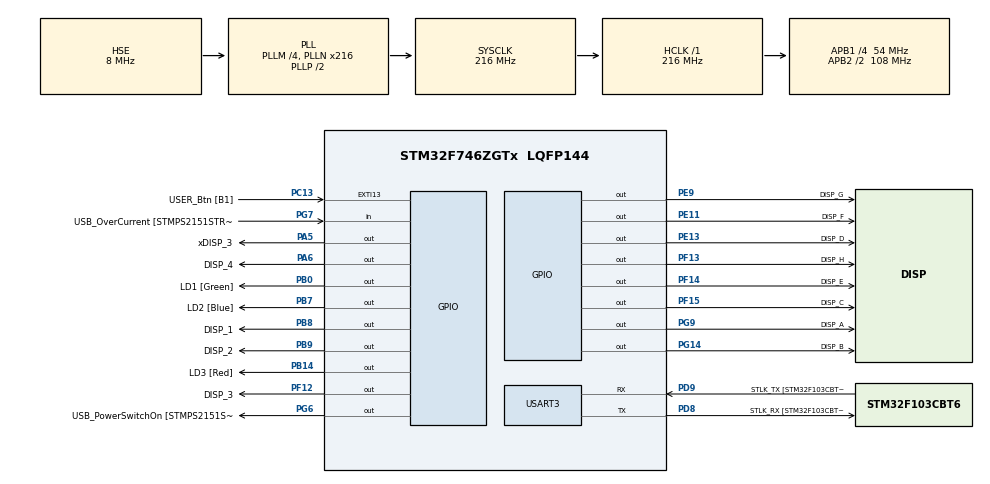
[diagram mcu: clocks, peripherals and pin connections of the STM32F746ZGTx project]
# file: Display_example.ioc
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Mcu.Family=STM32F7
Mcu.Name=STM32F746ZGTx
Mcu.Package=LQFP144
NVIC.PriorityGroup=NVIC_PRIORITYGROUP_4
NVIC.TIM7_IRQn=true\:0\:0\:false\:false\:true\:true\:true\:true
NVIC.USART3_IRQn=true\:0\:0\:false\:false\:true\:true\:true\:true
PA1.GPIO_Label=RMII_REF_CLK [LAN8742A-CZ-TR_REFCLK0]
PA1.Signal=ETH_REF_CLK
PA10.GPIO_Label=USB_ID
PA10.Signal=USB_OTG_FS_ID
PA11.GPIO_Label=USB_DM
PA11.Signal=USB_OTG_FS_DM
PA12.GPIO_Label=USB_DP
PA12.Signal=USB_OTG_FS_DP
PA13.GPIO_Label=TMS
PA13.Mode=Serial_Wire
PA13.Signal=SYS_JTMS-SWDIO
PA14.GPIO_Label=TCK
PA14.Mode=Serial_Wire
PA14.Signal=SYS_JTCK-SWCLK
PA2.GPIO_Label=RMII_MDIO [LAN8742A-CZ-TR_MDIO]
PA2.Signal=ETH_MDIO
PA5.GPIO_Label=xDISP_3
PA5.GPIO_ModeDefaultOutputPP=GPIO_MODE_OUTPUT_OD
PA5.GPIO_PuPd=GPIO_NOPULL
PA5.PinState=GPIO_PIN_SET
PA5.Signal=GPIO_Output
PA6.GPIO_Label=DISP_4
PA6.GPIO_ModeDefaultOutputPP=GPIO_MODE_OUTPUT_OD
PA6.GPIO_PuPd=GPIO_NOPULL
PA6.PinState=GPIO_PIN_SET
PA6.Signal=GPIO_Output
PA7.GPIO_Label=RMII_CRS_DV [LAN8742A-CZ-TR_CRS_DV]
PA7.Signal=ETH_CRS_DV
PA8.GPIO_Label=USB_SOF [TP1]
PA8.Signal=USB_OTG_FS_SOF
PA9.GPIO_Label=USB_VBUS
PA9.Signal=USB_OTG_FS_VBUS
PB0.GPIO_Label=LD1 [Green]
PB0.Signal=GPIO_Output
PB13.GPIO_Label=RMII_TXD1 [LAN8742A-CZ-TR_TXD1]
PB13.Signal=ETH_TXD1
PB14.GPIO_Label=LD3 [Red]
PB14.Signal=GPIO_Output
PB3.GPIO_Label=SW0
PB3.Signal=SYS_JTDO-SWO
PB7.GPIO_Label=LD2 [Blue]
PB7.Signal=GPIO_Output
PB8.GPIO_Label=DISP_1
PB8.GPIO_ModeDefaultOutputPP=GPIO_MODE_OUTPUT_OD
PB8.GPIO_PuPd=GPIO_NOPULL
PB8.PinState=GPIO_PIN_SET
PB8.Signal=GPIO_Output
PB9.GPIO_Label=DISP_2
PB9.GPIO_ModeDefaultOutputPP=GPIO_MODE_OUTPUT_OD
PB9.GPIO_PuPd=GPIO_NOPULL
PB9.PinState=GPIO_PIN_SET
PB9.Signal=GPIO_Output
PC1.GPIO_Label=RMII_MDC [LAN8742A-CZ-TR_MDC]
PC1.Signal=ETH_MDC
PC13.GPIO_Label=USER_Btn [B1]
PC13.Signal=GPXTI13
PC14/OSC32_IN.Mode=LSE-External-Oscillator
PC14/OSC32_IN.Signal=RCC_OSC32_IN
PC15/OSC32_OUT.Mode=LSE-External-Oscillator
PC15/OSC32_OUT.Signal=RCC_OSC32_OUT
PC4.GPIO_Label=RMII_RXD0 [LAN8742A-CZ-TR_RXD0]
PC4.Signal=ETH_RXD0
PC5.GPIO_Label=RMII_RXD1 [LAN8742A-CZ-TR_RXD1]
PC5.Signal=ETH_RXD1
PD8.GPIO_Label=STLK_RX [STM32F103CBT6_PA3]
PD8.Mode=Asynchronous
PD8.Signal=USART3_TX
PD9.GPIO_Label=STLK_TX [STM32F103CBT6_PA2]
PD9.Mode=Asynchronous
PD9.Signal=USART3_RX
PE11.GPIO_Label=DISP_F
PE11.GPIO_ModeDefaultOutputPP=GPIO_MODE_OUTPUT_OD
PE11.GPIO_PuPd=GPIO_PULLUP
PE11.Signal=GPIO_Output
PE13.GPIO_Label=DISP_D
PE13.GPIO_ModeDefaultOutputPP=GPIO_MODE_OUTPUT_OD
PE13.GPIO_PuPd=GPIO_PULLUP
PE13.Signal=GPIO_Output
PE9.GPIO_Label=DISP_G
PE9.GPIO_ModeDefaultOutputPP=GPIO_MODE_OUTPUT_OD
PE9.GPIO_PuPd=GPIO_PULLUP
PE9.Signal=GPIO_Output
PF12.GPIO_Label=DISP_3
PF12.GPIO_ModeDefaultOutputPP=GPIO_MODE_OUTPUT_OD
PF12.GPIO_PuPd=GPIO_NOPULL
PF12.PinState=GPIO_PIN_SET
PF12.Signal=GPIO_Output
PF13.GPIO_Label=DISP_H
PF13.GPIO_ModeDefaultOutputPP=GPIO_MODE_OUTPUT_OD
PF13.GPIO_PuPd=GPIO_PULLUP
PF13.Signal=GPIO_Output
PF14.GPIO_Label=DISP_E
PF14.GPIO_ModeDefaultOutputPP=GPIO_MODE_OUTPUT_OD
PF14.GPIO_PuPd=GPIO_PULLUP
PF14.Signal=GPIO_Output
PF15.GPIO_Label=DISP_C
PF15.GPIO_ModeDefaultOutputPP=GPIO_MODE_OUTPUT_OD
PF15.GPIO_PuPd=GPIO_PULLUP
PF15.Signal=GPIO_Output
PG11.GPIO_Label=RMII_TX_EN [LAN8742A-CZ-TR_TXEN]
PG11.Signal=ETH_TX_EN
PG13.GPIO_Label=RMII_TXD0 [LAN8742A-CZ-TR_TXD0]
PG13.Signal=ETH_TXD0
PG14.GPIO_Label=DISP_B
PG14.GPIO_ModeDefaultOutputPP=GPIO_MODE_OUTPUT_OD
PG14.GPIO_PuPd=GPIO_PULLUP
PG14.Signal=GPIO_Output
PG6.GPIO_Label=USB_PowerSwitchOn [STMPS2151STR_EN]
PG6.Signal=GPIO_Output
PG7.GPIO_Label=USB_OverCurrent [STMPS2151STR_FAULT]
PG7.Signal=GPIO_Input
PG9.GPIO_Label=DISP_A
PG9.GPIO_ModeDefaultOutputPP=GPIO_MODE_OUTPUT_OD
PG9.GPIO_PuPd=GPIO_PULLUP
PG9.Signal=GPIO_Output
PH0/OSC_IN.GPIO_Label=MCO [STM32F103CBT6_PA8]
PH0/OSC_IN.Mode=HSE-External-Clock-Source
PH0/OSC_IN.Signal=RCC_OSC_IN
PH1/OSC_OUT.Mode=HSE-External-Clock-Source
PH1/OSC_OUT.Signal=RCC_OSC_OUT
ProjectManager.HeapSize=0x200
ProjectManager.StackSize=0x400
ProjectManager.TargetToolchain=STM32CubeIDE
RCC.48MHZClocksFreq_Value=24000000
RCC.AHBFreq_Value=216000000
RCC.APB1CLKDivider=RCC_HCLK_DIV4
RCC.APB1Freq_Value=54000000
RCC.APB1TimFreq_Value=108000000
RCC.APB2CLKDivider=RCC_HCLK_DIV2
RCC.APB2Freq_Value=108000000
RCC.APB2TimFreq_Value=216000000
RCC.CortexFreq_Value=216000000
RCC.HCLKFreq_Value=216000000
RCC.HSE_VALUE=8000000
RCC.HSI_VALUE=16000000
RCC.PLLM=4
RCC.PLLMUL=RCC_PLL_MUL9
RCC.PLLN=216
RCC.PLLQ=3
RCC.PLLSourceVirtual=RCC_PLLSOURCE_HSE
RCC.PRESCALERUSB=RCC_USBCLKSOURCE_PLL_DIV1_5
RCC.SYSCLKFreq_VALUE=216000000
RCC.SYSCLKSource=RCC_SYSCLKSOURCE_PLLCLK
RCC.SYSCLKSourceVirtual=RCC_SYSCLKSOURCE_PLLCLK
RCC.USBFreq_Value=144000000
RCC.VCOOutputFreq_Value=432000000
TIM7.Period=999
TIM7.Prescaler=215
USART3.VirtualMode-Asynchronous=VM_ASYNC
VP_TIM7_VS_ClockSourceINT.Mode=Enable_Timer
board=NUCLEO-F746ZG

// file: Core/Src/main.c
/* USER CODE BEGIN Header */
/**
  ******************************************************************************
  * @file           : main.c
  * @brief          : Main program body
  ******************************************************************************
  * @attention
  *
  * Copyright (c) 2022 STMicroelectronics.
  * All rights reserved.
  *
  * This software is licensed under terms that can be found in the LICENSE file
  * in the root directory of this software component.
  * If no LICENSE file comes with this software, it is provided AS-IS.
  *
  ******************************************************************************
  */
/* USER CODE END Header */
#include "main.h"
#include "tim.h"
#include "usart.h"
#include "gpio.h"

/* USER CODE BEGIN Includes */
#include <stdio.h>
#include "disp_config.h"
/* USER CODE END Includes */

/* USER CODE BEGIN PD */
#define CLOCK
/* USER CODE END PD */

/* USER CODE BEGIN PV */
char RX_DATA[32];
const unsigned int MSG_SIZE = 4;
/* USER CODE END PV */

void SystemClock_Config(void);

/* USER CODE BEGIN 0 */

/**
  * @brief  Rx Transfer completed callback.
  * @param  huart UART handle.
  * @retval None
  */
void HAL_UART_RxCpltCallback(UART_HandleTypeDef *huart)
{
  if(huart == &huart3)
  {
	unsigned int number = 0;
    int status = sscanf(RX_DATA, "%u", &number);

    if(status == 1 && number >= 0 && number <= 9999)
      DISP_printDecUInt(&hdisp1, number);

    HAL_UART_Receive_IT(huart, (unsigned char*)RX_DATA, MSG_SIZE);
  }
}

/**
  * @brief  Period elapsed callback in non-blocking mode
  * @param  htim TIM handle
  * @retval None
  */
void HAL_TIM_PeriodElapsedCallback(TIM_HandleTypeDef *htim)
{
  if(htim == hdisp1.Timer)
	  DISP_ROUTINE(&hdisp1);
}

/* USER CODE END 0 */

int main(void)
{

  /* MCU Configuration--------------------------------------------------------*/

  /* Reset of all peripherals, Initializes the Flash interface and the Systick. */
  HAL_Init();

  /* Configure the system clock */
  SystemClock_Config();

  /* Initialize all configured peripherals */
  MX_GPIO_Init();
  MX_USART3_UART_Init();
  MX_TIM7_Init();
  /* USER CODE BEGIN 2 */

  // Initialize 7-segment display
  DISP_Init(&hdisp1);

  // Printing initial value
  DISP_printDecUInt(&hdisp1, 1234);

  // Start serial port
  HAL_UART_Receive_IT(&huart3, (unsigned char*)RX_DATA, MSG_SIZE);
  //unsigned int number = 0;
  /* USER CODE END 2 */

  /* Infinite loop */
  /* USER CODE BEGIN WHILE */
  while (1)
  {
	//number = (number == 9999) ? 0 : number + 1;
	//DISP_printDecUInt(&hdisp1, number);
	//HAL_Delay(999);
    /* USER CODE END WHILE */

  }
}

void SystemClock_Config(void)
{
  RCC_OscInitTypeDef RCC_OscInitStruct = {0};
  RCC_ClkInitTypeDef RCC_ClkInitStruct = {0};

  /** Configure LSE Drive Capability
  */
  HAL_PWR_EnableBkUpAccess();
  /** Configure the main internal regulator output voltage
  */
  __HAL_RCC_PWR_CLK_ENABLE();
  __HAL_PWR_VOLTAGESCALING_CONFIG(PWR_REGULATOR_VOLTAGE_SCALE1);
  /** Initializes the RCC Oscillators according to the specified parameters
  * in the RCC_OscInitTypeDef structure.
  */
  RCC_OscInitStruct.OscillatorType = RCC_OSCILLATORTYPE_HSE;
  RCC_OscInitStruct.HSEState = RCC_HSE_BYPASS;
  RCC_OscInitStruct.PLL.PLLState = RCC_PLL_ON;
  RCC_OscInitStruct.PLL.PLLSource = RCC_PLLSOURCE_HSE;
  RCC_OscInitStruct.PLL.PLLM = 4;
  RCC_OscInitStruct.PLL.PLLN = 216;
  RCC_OscInitStruct.PLL.PLLP = RCC_PLLP_DIV2;
  RCC_OscInitStruct.PLL.PLLQ = 3;
  if (HAL_RCC_OscConfig(&RCC_OscInitStruct) != HAL_OK)
  {
    Error_Handler();
  }
  /** Activate the Over-Drive mode
  */
  if (HAL_PWREx_EnableOverDrive() != HAL_OK)
  {
    Error_Handler();
  }
  /** Initializes the CPU, AHB and APB buses clocks
  */
  RCC_ClkInitStruct.ClockType = RCC_CLOCKTYPE_HCLK|RCC_CLOCKTYPE_SYSCLK
                              |RCC_CLOCKTYPE_PCLK1|RCC_CLOCKTYPE_PCLK2;
  RCC_ClkInitStruct.SYSCLKSource = RCC_SYSCLKSOURCE_PLLCLK;
  RCC_ClkInitStruct.AHBCLKDivider = RCC_SYSCLK_DIV1;
  RCC_ClkInitStruct.APB1CLKDivider = RCC_HCLK_DIV4;
  RCC_ClkInitStruct.APB2CLKDivider = RCC_HCLK_DIV2;

  if (HAL_RCC_ClockConfig(&RCC_ClkInitStruct, FLASH_LATENCY_7) != HAL_OK)
  {
    Error_Handler();
  }
}

void Error_Handler(void)
{
  __disable_irq();
  while (1)
  {
  }
}
